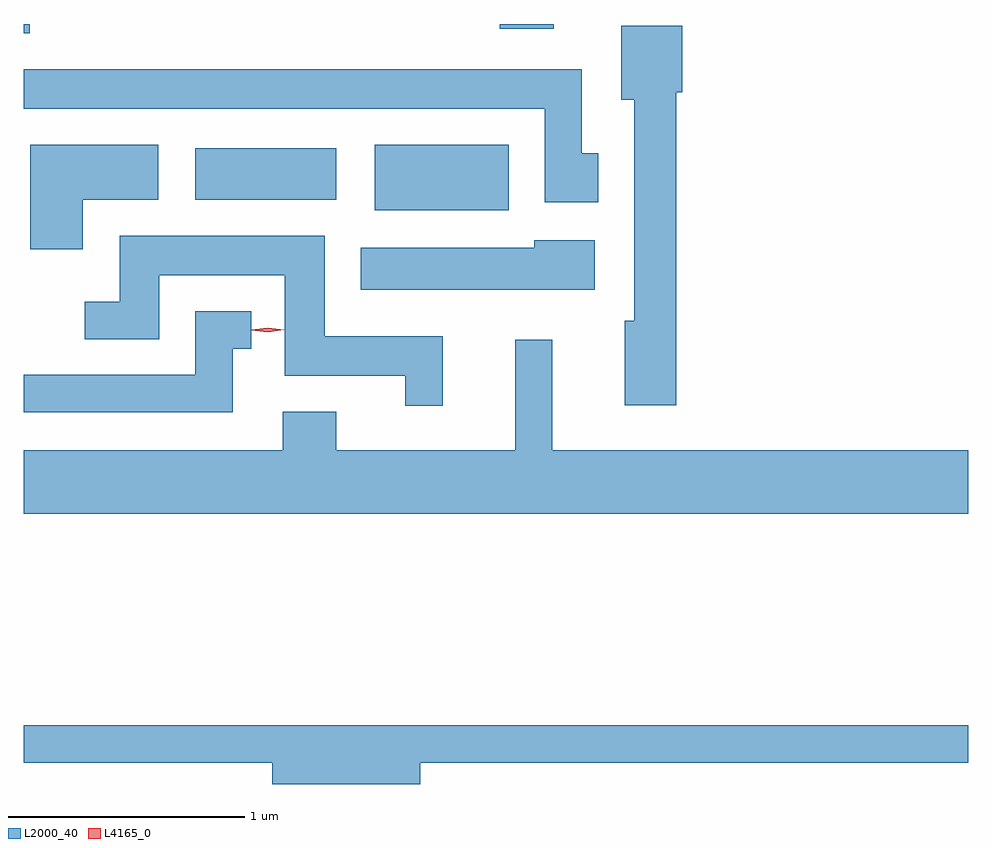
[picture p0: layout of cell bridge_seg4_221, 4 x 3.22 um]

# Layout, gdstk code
import gdstk
lib = gdstk.Library(unit=1e-6, precision=1e-09)
def R(c, l, rs):  # rectangles x0, y0, x1, y1
    for r in rs: c.add(gdstk.rectangle(r[:2], r[2:], *l))
def P(c, l, *ps):  # polygons
    for p in ps: c.add(gdstk.Polygon(p, *l))
L2000_40 = (2000, 40)
L4165_0 = (4165, 0)

bridge_seg4_221 = lib.new_cell('bridge_seg4_221')
R(bridge_seg4_221, L2000_40, [(963.101,1276.041,963.669,1276.319), (962.341,1276.086,962.939,1276.304), (961.615,1276.791,961.639,1276.831), (963.631,1276.811,963.859,1276.831)])
P(bridge_seg4_221, L2000_40, [(964.379,1276.541),(964.404,1276.541),(964.404,1276.824),(964.146,1276.824),(964.146,1276.511),(964.201,1276.511),(964.201,1275.574),(964.161,1275.574),(964.161,1275.216),(964.379,1275.216)],
  [(964.049,1276.284),(963.979,1276.284),(963.979,1276.639),(961.615,1276.639),(961.615,1276.471),(963.821,1276.471),(963.821,1276.076),(964.049,1276.076)],
  [(961.864,1276.086),(962.184,1276.086),(962.184,1276.319),(961.641,1276.319),(961.641,1275.876),(961.864,1275.876)],
  [(963.389,1275.509),(962.889,1275.509),(962.889,1275.934),(962.021,1275.934),(962.021,1275.654),(961.873,1275.654),(961.873,1275.496),(962.189,1275.496),(962.189,1275.766),(962.721,1275.766),(962.721,1275.341),(963.231,1275.341),(963.231,1275.213),(963.389,1275.213)],
  [(964.034,1275.914),(963.776,1275.914),(963.776,1275.884),(963.041,1275.884),(963.041,1275.706),(964.034,1275.706)],
  [(962.499,1275.456),(962.578,1275.456),(962.578,1275.614),(962.341,1275.614),(962.341,1275.344),(961.615,1275.344),(961.615,1275.186),(962.499,1275.186)],
  [(965.615,1275.024),(963.854,1275.024),(963.854,1275.493),(963.696,1275.493),(963.696,1275.024),(962.939,1275.024),(962.939,1275.189),(962.711,1275.189),(962.711,1275.024),(961.615,1275.024),(961.615,1274.756),(965.615,1274.756)],
  [(963.294,1273.701),(965.615,1273.701),(965.615,1273.859),(961.615,1273.859),(961.615,1273.701),(962.666,1273.701),(962.666,1273.611),(963.294,1273.611)])
P(bridge_seg4_221, L4165_0, [(962.648,1275.525),(962.579,1275.534),(962.579,1275.535),(962.579,1275.535),(962.648,1275.545),(962.718,1275.536),(962.718,1275.536),(962.718,1275.535)])

lib.write_gds('bridge_seg4_221.gds')
